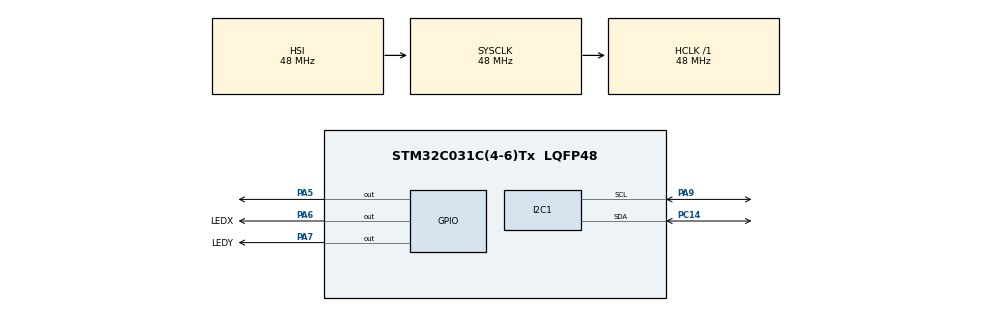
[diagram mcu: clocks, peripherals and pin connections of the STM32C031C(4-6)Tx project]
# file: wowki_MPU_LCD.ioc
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I2C1.Timing=0x10805D88
Mcu.Family=STM32C0
Mcu.Name=STM32C031C(4-6)Tx
Mcu.Package=LQFP48
PA5.Signal=GPIO_Output
PA6.GPIO_Label=LEDX
PA6.Signal=GPIO_Output
PA7.GPIO_Label=LEDY
PA7.Signal=GPIO_Output
PA9.Mode=I2C
PA9.Signal=I2C1_SCL
PC14-OSCX_IN\ (PC14).Mode=I2C
PC14-OSCX_IN\ (PC14).Signal=I2C1_SDA
ProjectManager.HeapSize=0x200
ProjectManager.StackSize=0x400
ProjectManager.TargetToolchain=STM32CubeIDE
RCC.ADCFreq_Value=48000000
RCC.AHBFreq_Value=48000000
RCC.CortexFreq_Value=48000000
RCC.EXTERNAL_CLOCK_VALUE=12288000
RCC.HCLKFreq_Value=48000000
RCC.HSE_VALUE=48000000
RCC.HSISYSCLKDivider=RCC_HSI_DIV1
RCC.HSI_VALUE=48000000
RCC.LSE_VALUE=32768
RCC.SYSCLKFreq_VALUE=48000000
board=NUCLEO-C031C6

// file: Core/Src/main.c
/* USER CODE BEGIN Header */
/**
  ******************************************************************************
  * @file           : main.c
  * @brief          : Main program body
  ******************************************************************************
  * @attention
  *
  * Copyright (c) 2025 STMicroelectronics.
  * All rights reserved.
  *
  * This software is licensed under terms that can be found in the LICENSE file
  * in the root directory of this software component.
  * If no LICENSE file comes with this software, it is provided AS-IS.
  *
  ******************************************************************************
  */
/* USER CODE END Header */
#include "main.h"

/* USER CODE BEGIN Includes */
#include "i2c-lcd.h"
#include "stdio.h"
/* USER CODE END Includes */

I2C_HandleTypeDef hi2c1;

void SystemClock_Config(void);
static void MX_GPIO_Init(void);
static void MX_I2C1_Init(void);

/* USER CODE BEGIN 0 */
#define MPU6050_ADDR 0xD0

#define SMPLRT_DIV_REG 0x19
#define GYRO_CONFIG_REG 0x1B
#define ACCEL_CONFIG_REG 0x1C
#define ACCEL_XOUT_H_REG 0x3B
#define TEMP_OUT_H_REG 0x41
#define GYRO_XOUT_H_REG 0x43
#define PWR_MGMT_1_REG 0x6B
#define WHO_AM_I_REG 0x75

int16_t Accel_X_RAW = 0;
int16_t Accel_Y_RAW = 0;
int16_t Accel_Z_RAW = 0;

int16_t Gyro_X_RAW = 0;
int16_t Gyro_Y_RAW = 0;
int16_t Gyro_Z_RAW = 0;

float Ax, Ay, Az, Gx, Gy, Gz;

void MPU6050_Init (void)
{
	uint8_t check;
	uint8_t Data;

	// check device ID WHO_AM_I
	HAL_I2C_Mem_Read (&hi2c1, MPU6050_ADDR, 0x75, 1, &check, 1, 1000);
	if (check == 0x68)  // 0x68 will be returned by the sensor if everything goes well
	{
		// power management register 0X6B we should write all 0's to wake the sensor up
		Data = 0;
		HAL_I2C_Mem_Write(&hi2c1, MPU6050_ADDR, 0x6B, 1,&Data, 1, 1000);

		// Set DATA RATE of 1KHz by writing SMPLRT_DIV register
		Data = 0x07;
		HAL_I2C_Mem_Write(&hi2c1, MPU6050_ADDR, 0x19, 1, &Data, 1, 1000);

		// Set Gyroscopic configuration in GYRO_CONFIG Register
		Data = 0x00;  // XG_ST=0,YG_ST=0,ZG_ST=0, FS_SEL=0 -> ± 250 �?/s
		HAL_I2C_Mem_Write(&hi2c1, MPU6050_ADDR, 0x1B, 1, &Data, 1, 1000);

		// Set accelerometer configuration in ACCEL_CONFIG Register
		Data = 0x00;  // XA_ST=0,YA_ST=0,ZA_ST=0, FS_SEL=0 -> ± 2g
		HAL_I2C_Mem_Write(&hi2c1, MPU6050_ADDR, 0x1C, 1, &Data, 1, 1000);
	}

}

void MPU6050_Read_Accel (void)
{
	uint8_t Rec_Data[6];

	// Read 6 BYTES of data starting from ACCEL_XOUT_H (0x3B) register
	HAL_I2C_Mem_Read (&hi2c1, MPU6050_ADDR, 0x3B, 1, Rec_Data, 6, 1000);

	Accel_X_RAW = (int16_t)(Rec_Data[0] << 8 | Rec_Data [1]);
	Accel_Y_RAW = (int16_t)(Rec_Data[2] << 8 | Rec_Data [3]);
	Accel_Z_RAW = (int16_t)(Rec_Data[4] << 8 | Rec_Data [5]);

	/*** convert the RAW values into acceleration in 'g'
	     we have to divide according to the Full scale value set in FS_SEL
	     I have configured FS_SEL = 0. So I am dividing by 16384.0
	     for more details check ACCEL_CONFIG Register              ****/

	Ax = (float)Accel_X_RAW/16384.0;
	Ay = (float)Accel_Y_RAW/16384.0;
	Az = (float)Accel_Z_RAW/16384.0;
}

void MPU6050_Read_Gyro (void)
{
	uint8_t Rec_Data[6];

	// Read 6 BYTES of data starting from GYRO_XOUT_H register
	HAL_I2C_Mem_Read (&hi2c1, MPU6050_ADDR, 0x43, 1, Rec_Data, 6, 1000);

	Gyro_X_RAW = (int16_t)(Rec_Data[0] << 8 | Rec_Data [1]);
	Gyro_Y_RAW = (int16_t)(Rec_Data[2] << 8 | Rec_Data [3]);
	Gyro_Z_RAW = (int16_t)(Rec_Data[4] << 8 | Rec_Data [5]);

	/*** convert the RAW values into dps (ｰ/s)
	     we have to divide according to the Full scale value set in FS_SEL
	     I have configured FS_SEL = 0. So I am dividing by 131.0
	     for more details check GYRO_CONFIG Register              ****/

	Gx = (float)Gyro_X_RAW/131.0;
	Gy = (float)Gyro_Y_RAW/131.0;
	Gz = (float)Gyro_Z_RAW/131.0;
}

/* USER CODE END 0 */

int main(void)
{

  /* MCU Configuration--------------------------------------------------------*/

  /* Reset of all peripherals, Initializes the Flash interface and the Systick. */
  HAL_Init();

  /* Configure the system clock */
  SystemClock_Config();

  /* Initialize all configured peripherals */
  MX_GPIO_Init();
  MX_I2C1_Init();
  /* USER CODE BEGIN 2 */
  lcd_init();
  MPU6050_Init();
  lcd_send_cmd (0x80|0x5A);
  lcd_send_string ("MPU6050");
  /* USER CODE END 2 */

  /* Infinite loop */
  while (1)
  {

    /* USER CODE BEGIN 3 */

  	  char buf[20];

  	  // read the Accelerometer and Gyro values
  	  MPU6050_Read_Accel();
  	  MPU6050_Read_Gyro();

  	  // print the Acceleration and Gyro values on the LCD 20x4
  	  lcd_send_cmd (0x80|0x00);  // goto 1,1
  	  //sprintf (buf, "Ax=%.2fg ", Ax);
  	  lcd_send_string (buf);

  	  lcd_send_cmd (0x80|0x40);  // goto 2,1
  	  //sprintf (buf, "Ay=%.2fg ", Ay);
  	  lcd_send_string (buf);

  	  lcd_send_cmd (0x80|0x14);  // goto 3,1
  	  //sprintf (buf, "Az=%.2fg ", Az);
  	  lcd_send_string (buf);

  	  lcd_send_cmd (0x80|0x0A);  // goto 1,11
  	  //sprintf (buf, "Gx=%.2f", Gx);
  	  lcd_send_string (buf);

  	  lcd_send_cmd (0x80|0x4A);  // goto 2,11
  	  //sprintf (buf, "Gy=%.2f", Gy);
  	  lcd_send_string (buf);

  	  lcd_send_cmd (0x80|0x1E);  // goto 3,11
  	  //sprintf (buf, "Gz=%.2f", Gz);
  	  lcd_send_string (buf);

  	 if(Gx>10){
  	  		  HAL_GPIO_WritePin(GPIOA, LEDX_Pin, GPIO_PIN_SET);
  	  	  }
  	  	  else{
  	  		HAL_GPIO_WritePin(GPIOA, LEDX_Pin, GPIO_PIN_RESET);
  	  	  }

  	  HAL_Delay (250);  // wait for a while
    }
  /* USER CODE END 3 */
}

void SystemClock_Config(void)
{
  RCC_OscInitTypeDef RCC_OscInitStruct = {0};
  RCC_ClkInitTypeDef RCC_ClkInitStruct = {0};

  /** Initializes the RCC Oscillators according to the specified parameters
  * in the RCC_OscInitTypeDef structure.
  */
  RCC_OscInitStruct.OscillatorType = RCC_OSCILLATORTYPE_HSI;
  RCC_OscInitStruct.HSIState = RCC_HSI_ON;
  RCC_OscInitStruct.HSIDiv = RCC_HSI_DIV1;
  RCC_OscInitStruct.HSICalibrationValue = RCC_HSICALIBRATION_DEFAULT;
  if (HAL_RCC_OscConfig(&RCC_OscInitStruct) != HAL_OK)
  {
    Error_Handler();
  }

  /** Initializes the CPU, AHB and APB buses clocks
  */
  RCC_ClkInitStruct.ClockType = RCC_CLOCKTYPE_HCLK|RCC_CLOCKTYPE_SYSCLK
                              |RCC_CLOCKTYPE_PCLK1;
  RCC_ClkInitStruct.SYSCLKSource = RCC_SYSCLKSOURCE_HSI;
  RCC_ClkInitStruct.SYSCLKDivider = RCC_SYSCLK_DIV1;
  RCC_ClkInitStruct.AHBCLKDivider = RCC_HCLK_DIV1;
  RCC_ClkInitStruct.APB1CLKDivider = RCC_APB1_DIV1;

  if (HAL_RCC_ClockConfig(&RCC_ClkInitStruct, FLASH_LATENCY_1) != HAL_OK)
  {
    Error_Handler();
  }
}

static void MX_I2C1_Init(void)
{

  hi2c1.Instance = I2C1;
  hi2c1.Init.Timing = 0x10805D88;
  hi2c1.Init.OwnAddress1 = 0;
  hi2c1.Init.AddressingMode = I2C_ADDRESSINGMODE_7BIT;
  hi2c1.Init.DualAddressMode = I2C_DUALADDRESS_DISABLE;
  hi2c1.Init.OwnAddress2 = 0;
  hi2c1.Init.OwnAddress2Masks = I2C_OA2_NOMASK;
  hi2c1.Init.GeneralCallMode = I2C_GENERALCALL_DISABLE;
  hi2c1.Init.NoStretchMode = I2C_NOSTRETCH_DISABLE;
  if (HAL_I2C_Init(&hi2c1) != HAL_OK)
  {
    Error_Handler();
  }

  /** Configure Analogue filter
  */
  if (HAL_I2CEx_ConfigAnalogFilter(&hi2c1, I2C_ANALOGFILTER_ENABLE) != HAL_OK)
  {
    Error_Handler();
  }

  /** Configure Digital filter
  */
  if (HAL_I2CEx_ConfigDigitalFilter(&hi2c1, 0) != HAL_OK)
  {
    Error_Handler();
  }

}

static void MX_GPIO_Init(void)
{
  GPIO_InitTypeDef GPIO_InitStruct = {0};

  /* GPIO Ports Clock Enable */
  __HAL_RCC_GPIOC_CLK_ENABLE();
  __HAL_RCC_GPIOA_CLK_ENABLE();

  /*Configure GPIO pin Output Level */
  HAL_GPIO_WritePin(GPIOA, GPIO_PIN_5|LEDX_Pin|LEDY_Pin, GPIO_PIN_RESET);

  /*Configure GPIO pins : PA5 LEDX_Pin LEDY_Pin */
  GPIO_InitStruct.Pin = GPIO_PIN_5|LEDX_Pin|LEDY_Pin;
  GPIO_InitStruct.Mode = GPIO_MODE_OUTPUT_PP;
  GPIO_InitStruct.Pull = GPIO_NOPULL;
  GPIO_InitStruct.Speed = GPIO_SPEED_FREQ_LOW;
  HAL_GPIO_Init(GPIOA, &GPIO_InitStruct);

}

void Error_Handler(void)
{
  __disable_irq();
  while (1)
  {
  }
}
